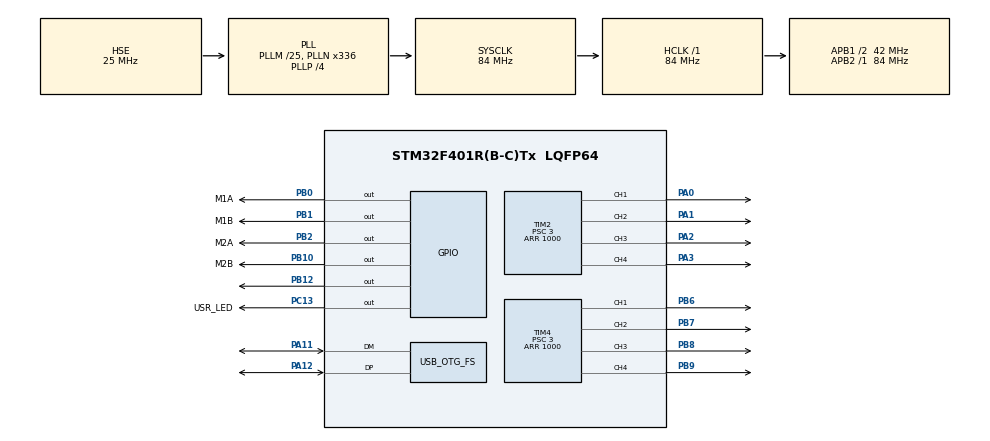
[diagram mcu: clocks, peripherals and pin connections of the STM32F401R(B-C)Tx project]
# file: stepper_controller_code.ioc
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Mcu.Family=STM32F4
Mcu.Name=STM32F401R(B-C)Tx
Mcu.Package=LQFP64
NVIC.OTG_FS_IRQn=true\:0\:0\:false\:false\:true\:false\:true\:true
NVIC.PriorityGroup=NVIC_PRIORITYGROUP_4
PA0-WKUP.Signal=S_TIM2_CH1_ETR
PA1.Signal=S_TIM2_CH2
PA11.Mode=Device_Only
PA11.Signal=USB_OTG_FS_DM
PA12.Mode=Device_Only
PA12.Signal=USB_OTG_FS_DP
PA2.Signal=S_TIM2_CH3
PA3.Signal=S_TIM2_CH4
PB0.GPIO_Label=M1A
PB0.Signal=GPIO_Output
PB1.GPIO_Label=M1B
PB1.Signal=GPIO_Output
PB10.GPIO_Label=M2B
PB10.Signal=GPIO_Output
PB12.Signal=GPIO_Output
PB2.GPIO_Label=M2A
PB2.Signal=GPIO_Output
PB6.Signal=S_TIM4_CH1
PB7.Signal=S_TIM4_CH2
PB8.Signal=S_TIM4_CH3
PB9.Signal=S_TIM4_CH4
PC13-ANTI_TAMP.GPIO_Label=USR_LED
PC13-ANTI_TAMP.Signal=GPIO_Output
PH0\ -\ OSC_IN.Mode=HSE-External-Oscillator
PH0\ -\ OSC_IN.Signal=RCC_OSC_IN
PH1\ -\ OSC_OUT.Mode=HSE-External-Oscillator
PH1\ -\ OSC_OUT.Signal=RCC_OSC_OUT
ProjectManager.HeapSize=0x200
ProjectManager.StackSize=0x400
ProjectManager.TargetToolchain=Makefile
RCC.48MHZClocksFreq_Value=48000000
RCC.AHBFreq_Value=84000000
RCC.APB1CLKDivider=RCC_HCLK_DIV2
RCC.APB1Freq_Value=42000000
RCC.APB1TimFreq_Value=84000000
RCC.APB2Freq_Value=84000000
RCC.APB2TimFreq_Value=84000000
RCC.CortexFreq_Value=84000000
RCC.HCLKFreq_Value=84000000
RCC.HSE_VALUE=25000000
RCC.HSI_VALUE=16000000
RCC.LSE_VALUE=32768
RCC.PLLM=25
RCC.PLLN=336
RCC.PLLP=RCC_PLLP_DIV4
RCC.PLLQ=7
RCC.SYSCLKFreq_VALUE=84000000
RCC.SYSCLKSource=RCC_SYSCLKSOURCE_PLLCLK
RCC.VCOOutputFreq_Value=336000000
SH.S_TIM2_CH1_ETR.0=TIM2_CH1,PWM Generation1 CH1
SH.S_TIM2_CH2.0=TIM2_CH2,PWM Generation2 CH2
SH.S_TIM2_CH3.0=TIM2_CH3,PWM Generation3 CH3
SH.S_TIM2_CH4.0=TIM2_CH4,PWM Generation4 CH4
SH.S_TIM4_CH1.0=TIM4_CH1,PWM Generation1 CH1
SH.S_TIM4_CH2.0=TIM4_CH2,PWM Generation2 CH2
SH.S_TIM4_CH3.0=TIM4_CH3,PWM Generation3 CH3
SH.S_TIM4_CH4.0=TIM4_CH4,PWM Generation4 CH4
TIM2.Channel-PWM\ Generation1\ CH1=TIM_CHANNEL_1
TIM2.Channel-PWM\ Generation2\ CH2=TIM_CHANNEL_2
TIM2.Channel-PWM\ Generation3\ CH3=TIM_CHANNEL_3
TIM2.Channel-PWM\ Generation4\ CH4=TIM_CHANNEL_4
TIM2.Period=1000
TIM2.Prescaler=3
TIM4.Channel-PWM\ Generation1\ CH1=TIM_CHANNEL_1
TIM4.Channel-PWM\ Generation2\ CH2=TIM_CHANNEL_2
TIM4.Channel-PWM\ Generation3\ CH3=TIM_CHANNEL_3
TIM4.Channel-PWM\ Generation4\ CH4=TIM_CHANNEL_4
TIM4.Period=1000
TIM4.Prescaler=3
TIM5.Prescaler=42000-1
USB_DEVICE.CLASS_NAME_FS=CDC
USB_DEVICE.VirtualMode=Cdc
USB_DEVICE.VirtualModeFS=Cdc_FS
USB_OTG_FS.VirtualMode=Device_Only
VP_TIM5_VS_ClockSourceINT.Mode=Internal
VP_USB_DEVICE_VS_USB_DEVICE_CDC_FS.Mode=CDC_FS
board=custom

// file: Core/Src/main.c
/* USER CODE BEGIN Header */
/**
  ******************************************************************************
  * @file           : main.c
  * @brief          : Main program body
  ******************************************************************************
  * @attention
  *
  * Copyright (c) 2024 STMicroelectronics.
  * All rights reserved.
  *
  * This software is licensed under terms that can be found in the LICENSE file
  * in the root directory of this software component.
  * If no LICENSE file comes with this software, it is provided AS-IS.
  *
  ******************************************************************************
  */
/* USER CODE END Header */
#include "main.h"
#include "usb_device.h"

/* USER CODE BEGIN Includes */
#include "stepper_driver.h"
/* USER CODE END Includes */

TIM_HandleTypeDef htim2;
TIM_HandleTypeDef htim4;
TIM_HandleTypeDef htim5;

void SystemClock_Config(void);
static void MX_GPIO_Init(void);
static void MX_TIM2_Init(void);
static void MX_TIM4_Init(void);
static void MX_TIM5_Init(void);

int main(void)
{

  /* MCU Configuration--------------------------------------------------------*/

  /* Reset of all peripherals, Initializes the Flash interface and the Systick. */
  HAL_Init();

  /* Configure the system clock */
  SystemClock_Config();

  /* Initialize all configured peripherals */
  MX_GPIO_Init();
  MX_USB_DEVICE_Init();
  MX_TIM2_Init();
  MX_TIM4_Init();
  MX_TIM5_Init();
  /* USER CODE BEGIN 2 */
  HAL_TIM_PWM_Start(&htim2, TIM_CHANNEL_1);
  HAL_TIM_PWM_Start(&htim2, TIM_CHANNEL_2);
  HAL_TIM_PWM_Start(&htim2, TIM_CHANNEL_3);
  HAL_TIM_PWM_Start(&htim2, TIM_CHANNEL_4);
  HAL_TIM_PWM_Start(&htim4, TIM_CHANNEL_1);
  HAL_TIM_PWM_Start(&htim4, TIM_CHANNEL_2);
  HAL_TIM_PWM_Start(&htim4, TIM_CHANNEL_3);
  HAL_TIM_PWM_Start(&htim4, TIM_CHANNEL_4);
  HAL_TIM_Base_Start(&htim5);
  int delay = 5;
  HAL_Delay(1);
  uint32_t Ra_wait_until = 0U;
  uint32_t Dec_wait_until = 0U;
  uint32_t LED_wait_until = 0U;

  uint32_t Ra_half_ms_wait = 50;
  uint32_t Dec_half_ms_wait = 50;
  uint32_t LED_half_ms_wait = 1000;

  /* USER CODE END 2 */

  /* Infinite loop */
  /* USER CODE BEGIN WHILE */
  while (1)
  {

    if(Dec_wait_until < TIM5->CNT){
      Dec_wait_until += Dec_half_ms_wait;
      MotorDecStep(FORWARD);
    }
    if(Ra_wait_until < TIM5->CNT){
      Ra_wait_until += Ra_half_ms_wait;
      MotorRaStep(FORWARD);
    }
    if(LED_wait_until < TIM5->CNT){
      LED_wait_until += LED_half_ms_wait;
      HAL_GPIO_TogglePin(USR_LED_GPIO_Port, USR_LED_Pin);
    }

    /* USER CODE END WHILE */

  }
}

void SystemClock_Config(void)
{
  RCC_OscInitTypeDef RCC_OscInitStruct = {0};
  RCC_ClkInitTypeDef RCC_ClkInitStruct = {0};

  /** Configure the main internal regulator output voltage
  */
  __HAL_RCC_PWR_CLK_ENABLE();
  __HAL_PWR_VOLTAGESCALING_CONFIG(PWR_REGULATOR_VOLTAGE_SCALE2);

  /** Initializes the RCC Oscillators according to the specified parameters
  * in the RCC_OscInitTypeDef structure.
  */
  RCC_OscInitStruct.OscillatorType = RCC_OSCILLATORTYPE_HSE;
  RCC_OscInitStruct.HSEState = RCC_HSE_ON;
  RCC_OscInitStruct.PLL.PLLState = RCC_PLL_ON;
  RCC_OscInitStruct.PLL.PLLSource = RCC_PLLSOURCE_HSE;
  RCC_OscInitStruct.PLL.PLLM = 25;
  RCC_OscInitStruct.PLL.PLLN = 336;
  RCC_OscInitStruct.PLL.PLLP = RCC_PLLP_DIV4;
  RCC_OscInitStruct.PLL.PLLQ = 7;
  if (HAL_RCC_OscConfig(&RCC_OscInitStruct) != HAL_OK)
  {
    Error_Handler();
  }

  /** Initializes the CPU, AHB and APB buses clocks
  */
  RCC_ClkInitStruct.ClockType = RCC_CLOCKTYPE_HCLK|RCC_CLOCKTYPE_SYSCLK
                              |RCC_CLOCKTYPE_PCLK1|RCC_CLOCKTYPE_PCLK2;
  RCC_ClkInitStruct.SYSCLKSource = RCC_SYSCLKSOURCE_PLLCLK;
  RCC_ClkInitStruct.AHBCLKDivider = RCC_SYSCLK_DIV1;
  RCC_ClkInitStruct.APB1CLKDivider = RCC_HCLK_DIV2;
  RCC_ClkInitStruct.APB2CLKDivider = RCC_HCLK_DIV1;

  if (HAL_RCC_ClockConfig(&RCC_ClkInitStruct, FLASH_LATENCY_2) != HAL_OK)
  {
    Error_Handler();
  }
}

static void MX_TIM2_Init(void)
{

  TIM_MasterConfigTypeDef sMasterConfig = {0};
  TIM_OC_InitTypeDef sConfigOC = {0};

  htim2.Instance = TIM2;
  htim2.Init.Prescaler = 3;
  htim2.Init.CounterMode = TIM_COUNTERMODE_UP;
  htim2.Init.Period = 1000;
  htim2.Init.ClockDivision = TIM_CLOCKDIVISION_DIV1;
  htim2.Init.AutoReloadPreload = TIM_AUTORELOAD_PRELOAD_DISABLE;
  if (HAL_TIM_PWM_Init(&htim2) != HAL_OK)
  {
    Error_Handler();
  }
  sMasterConfig.MasterOutputTrigger = TIM_TRGO_RESET;
  sMasterConfig.MasterSlaveMode = TIM_MASTERSLAVEMODE_DISABLE;
  if (HAL_TIMEx_MasterConfigSynchronization(&htim2, &sMasterConfig) != HAL_OK)
  {
    Error_Handler();
  }
  sConfigOC.OCMode = TIM_OCMODE_PWM1;
  sConfigOC.Pulse = 0;
  sConfigOC.OCPolarity = TIM_OCPOLARITY_HIGH;
  sConfigOC.OCFastMode = TIM_OCFAST_DISABLE;
  if (HAL_TIM_PWM_ConfigChannel(&htim2, &sConfigOC, TIM_CHANNEL_1) != HAL_OK)
  {
    Error_Handler();
  }
  if (HAL_TIM_PWM_ConfigChannel(&htim2, &sConfigOC, TIM_CHANNEL_2) != HAL_OK)
  {
    Error_Handler();
  }
  if (HAL_TIM_PWM_ConfigChannel(&htim2, &sConfigOC, TIM_CHANNEL_3) != HAL_OK)
  {
    Error_Handler();
  }
  if (HAL_TIM_PWM_ConfigChannel(&htim2, &sConfigOC, TIM_CHANNEL_4) != HAL_OK)
  {
    Error_Handler();
  }
  HAL_TIM_MspPostInit(&htim2);

}

static void MX_TIM4_Init(void)
{

  TIM_MasterConfigTypeDef sMasterConfig = {0};
  TIM_OC_InitTypeDef sConfigOC = {0};

  htim4.Instance = TIM4;
  htim4.Init.Prescaler = 3;
  htim4.Init.CounterMode = TIM_COUNTERMODE_UP;
  htim4.Init.Period = 1000;
  htim4.Init.ClockDivision = TIM_CLOCKDIVISION_DIV1;
  htim4.Init.AutoReloadPreload = TIM_AUTORELOAD_PRELOAD_DISABLE;
  if (HAL_TIM_PWM_Init(&htim4) != HAL_OK)
  {
    Error_Handler();
  }
  sMasterConfig.MasterOutputTrigger = TIM_TRGO_RESET;
  sMasterConfig.MasterSlaveMode = TIM_MASTERSLAVEMODE_DISABLE;
  if (HAL_TIMEx_MasterConfigSynchronization(&htim4, &sMasterConfig) != HAL_OK)
  {
    Error_Handler();
  }
  sConfigOC.OCMode = TIM_OCMODE_PWM1;
  sConfigOC.Pulse = 0;
  sConfigOC.OCPolarity = TIM_OCPOLARITY_HIGH;
  sConfigOC.OCFastMode = TIM_OCFAST_DISABLE;
  if (HAL_TIM_PWM_ConfigChannel(&htim4, &sConfigOC, TIM_CHANNEL_1) != HAL_OK)
  {
    Error_Handler();
  }
  if (HAL_TIM_PWM_ConfigChannel(&htim4, &sConfigOC, TIM_CHANNEL_2) != HAL_OK)
  {
    Error_Handler();
  }
  if (HAL_TIM_PWM_ConfigChannel(&htim4, &sConfigOC, TIM_CHANNEL_3) != HAL_OK)
  {
    Error_Handler();
  }
  if (HAL_TIM_PWM_ConfigChannel(&htim4, &sConfigOC, TIM_CHANNEL_4) != HAL_OK)
  {
    Error_Handler();
  }
  HAL_TIM_MspPostInit(&htim4);

}

static void MX_TIM5_Init(void)
{

  TIM_ClockConfigTypeDef sClockSourceConfig = {0};
  TIM_MasterConfigTypeDef sMasterConfig = {0};

  htim5.Instance = TIM5;
  htim5.Init.Prescaler = 42000-1;
  htim5.Init.CounterMode = TIM_COUNTERMODE_UP;
  htim5.Init.Period = 4294967295;
  htim5.Init.ClockDivision = TIM_CLOCKDIVISION_DIV1;
  htim5.Init.AutoReloadPreload = TIM_AUTORELOAD_PRELOAD_DISABLE;
  if (HAL_TIM_Base_Init(&htim5) != HAL_OK)
  {
    Error_Handler();
  }
  sClockSourceConfig.ClockSource = TIM_CLOCKSOURCE_INTERNAL;
  if (HAL_TIM_ConfigClockSource(&htim5, &sClockSourceConfig) != HAL_OK)
  {
    Error_Handler();
  }
  sMasterConfig.MasterOutputTrigger = TIM_TRGO_RESET;
  sMasterConfig.MasterSlaveMode = TIM_MASTERSLAVEMODE_DISABLE;
  if (HAL_TIMEx_MasterConfigSynchronization(&htim5, &sMasterConfig) != HAL_OK)
  {
    Error_Handler();
  }

}

static void MX_GPIO_Init(void)
{
  GPIO_InitTypeDef GPIO_InitStruct = {0};

  /* GPIO Ports Clock Enable */
  __HAL_RCC_GPIOC_CLK_ENABLE();
  __HAL_RCC_GPIOH_CLK_ENABLE();
  __HAL_RCC_GPIOA_CLK_ENABLE();
  __HAL_RCC_GPIOB_CLK_ENABLE();

  /*Configure GPIO pin Output Level */
  HAL_GPIO_WritePin(USR_LED_GPIO_Port, USR_LED_Pin, GPIO_PIN_RESET);

  /*Configure GPIO pin Output Level */
  HAL_GPIO_WritePin(GPIOB, M1A_Pin|M1B_Pin|M2A_Pin|M2B_Pin
                          |GPIO_PIN_12, GPIO_PIN_RESET);

  /*Configure GPIO pin : USR_LED_Pin */
  GPIO_InitStruct.Pin = USR_LED_Pin;
  GPIO_InitStruct.Mode = GPIO_MODE_OUTPUT_PP;
  GPIO_InitStruct.Pull = GPIO_NOPULL;
  GPIO_InitStruct.Speed = GPIO_SPEED_FREQ_LOW;
  HAL_GPIO_Init(USR_LED_GPIO_Port, &GPIO_InitStruct);

  /*Configure GPIO pins : M1A_Pin M1B_Pin M2A_Pin M2B_Pin
                           PB12 */
  GPIO_InitStruct.Pin = M1A_Pin|M1B_Pin|M2A_Pin|M2B_Pin
                          |GPIO_PIN_12;
  GPIO_InitStruct.Mode = GPIO_MODE_OUTPUT_PP;
  GPIO_InitStruct.Pull = GPIO_NOPULL;
  GPIO_InitStruct.Speed = GPIO_SPEED_FREQ_LOW;
  HAL_GPIO_Init(GPIOB, &GPIO_InitStruct);

}

void Error_Handler(void)
{
  __disable_irq();
  while (1)
  {
  }
}
